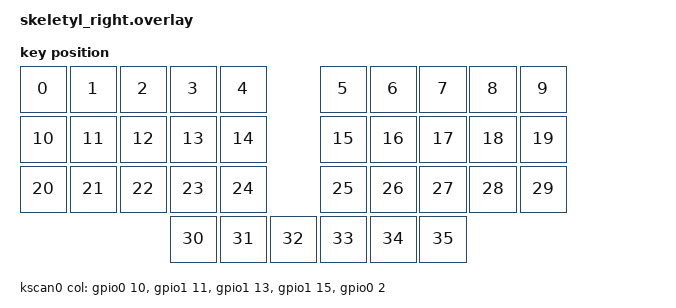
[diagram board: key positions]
#include <physical_layouts.dtsi>
#include <dt-bindings/zmk/matrix_transform.h>
#include <dt-bindings/led/led.h>
#include "skeletyl.dtsi"

/ {
    chosen {
        zmk,underglow = &led_strip;
        zmk,kscan = &kscan0;
        zmk,physical-layout = &skeletyl_layout;
    };

    skeletyl_layout: skeletyl_layout {
        compatible = "zmk,physical-layout";
        display-name = "Skeletyl Layout";
        transform = <&default_transform>;
        kscan = <&kscan0>;
        keys = <
            /* Left Hand - Row 0 */
            &key_physical_attrs 100 100 0 0 0 0 0
            &key_physical_attrs 100 100 100 0 0 0 0
            &key_physical_attrs 100 100 200 0 0 0 0
            &key_physical_attrs 100 100 300 0 0 0 0
            &key_physical_attrs 100 100 400 0 0 0 0
            /* Right Hand - Row 0 */
            &key_physical_attrs 100 100 600 0 0 0 0
            &key_physical_attrs 100 100 700 0 0 0 0
            &key_physical_attrs 100 100 800 0 0 0 0
            &key_physical_attrs 100 100 900 0 0 0 0
            &key_physical_attrs 100 100 1000 0 0 0 0

            /* Left Hand - Row 1 */
            &key_physical_attrs 100 100 0 100 0 0 0
            &key_physical_attrs 100 100 100 100 0 0 0
            &key_physical_attrs 100 100 200 100 0 0 0
            &key_physical_attrs 100 100 300 100 0 0 0
            &key_physical_attrs 100 100 400 100 0 0 0
            /* Right Hand - Row 1 */
            &key_physical_attrs 100 100 600 100 0 0 0
            &key_physical_attrs 100 100 700 100 0 0 0
            &key_physical_attrs 100 100 800 100 0 0 0
            &key_physical_attrs 100 100 900 100 0 0 0
            &key_physical_attrs 100 100 1000 100 0 0 0

            /* Left Hand - Row 2 */
            &key_physical_attrs 100 100 0 200 0 0 0
            &key_physical_attrs 100 100 100 200 0 0 0
            &key_physical_attrs 100 100 200 200 0 0 0
            &key_physical_attrs 100 100 300 200 0 0 0
            &key_physical_attrs 100 100 400 200 0 0 0
            /* Right Hand - Row 2 */
            &key_physical_attrs 100 100 600 200 0 0 0
            &key_physical_attrs 100 100 700 200 0 0 0
            &key_physical_attrs 100 100 800 200 0 0 0
            &key_physical_attrs 100 100 900 200 0 0 0
            &key_physical_attrs 100 100 1000 200 0 0 0

            /* Thumbs Left */
            &key_physical_attrs 100 100 300 300 0 0 0
            &key_physical_attrs 100 100 400 300 0 0 0
            &key_physical_attrs 100 100 500 300 0 0 0
            /* Thumbs Right */
            &key_physical_attrs 100 100 600 300 0 0 0
            &key_physical_attrs 100 100 700 300 0 0 0
            &key_physical_attrs 100 100 800 300 0 0 0
        >;
    };
};

&default_transform {
    col-offset = <5>;
};

&kscan0 {
    col-gpios
        = <&gpio0 10 GPIO_ACTIVE_HIGH>
        , <&gpio1 11 GPIO_ACTIVE_HIGH>
        , <&gpio1 13 GPIO_ACTIVE_HIGH>
        , <&gpio1 15 GPIO_ACTIVE_HIGH>
        , <&gpio0 2 GPIO_ACTIVE_HIGH>
        ;
};

&pinctrl {
    spi3_default: spi3_default {
        group1 {
            psels = <NRF_PSEL(SPIM_MOSI, 0, 8)>;
        };
    };

    spi3_sleep: spi3_sleep {
        group1 {
            psels = <NRF_PSEL(SPIM_MOSI, 0, 8)>;
            low-power-enable;
        };
    };
};

&spi3 {
    compatible = "nordic,nrf-spim";
    status = "okay";

    pinctrl-0 = <&spi3_default>;
    pinctrl-1 = <&spi3_sleep>;
    pinctrl-names = "default", "sleep";

    led_strip: ws2812@0 {
        compatible = "worldsemi,ws2812-spi";
        reg = <0>;
        spi-max-frequency = <4000000>;
        chain-length = <18>;
        spi-one-frame = <0x70>;
        spi-zero-frame = <0x40>;
        color-mapping = <LED_COLOR_ID_GREEN
                          LED_COLOR_ID_RED
                          LED_COLOR_ID_BLUE>;
    };
};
